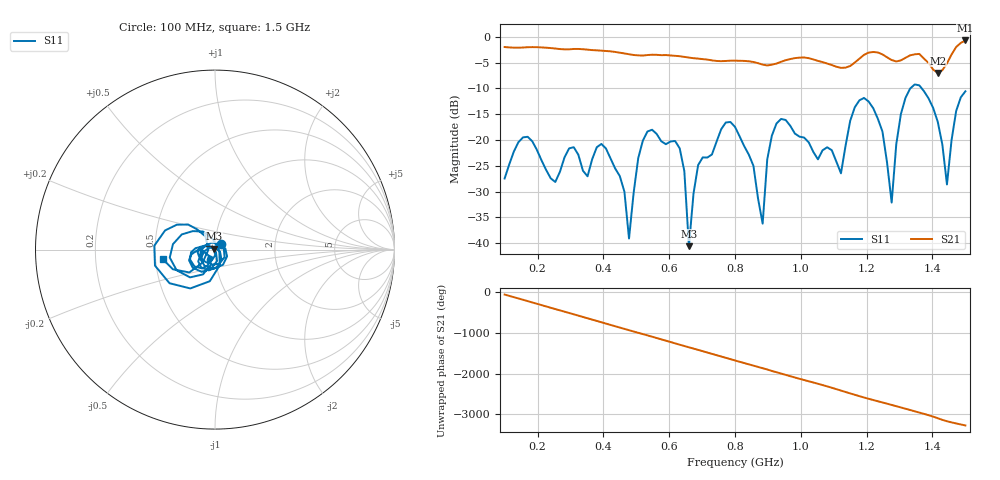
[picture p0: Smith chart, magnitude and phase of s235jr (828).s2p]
! NanoVNA-App
! Date: 2025-09-25 15:10:37
! Start: 100MHz Stop: 1,5GHz Points: 101
! S-Parameter data: F S11 S21 S12 S22
# Hz S RI R 50
!  Frequency  S11_Real  S11_Imag  S21_Real  S21_Imag  S12_Real  S12_Imag  S22_Real  S22_Imag
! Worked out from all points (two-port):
!   101 points, 100 MHz to 1.5 GHz, reference 50 ohm
!   highest |S21| = -0.69 dB at 1.5 GHz (marker M1); lowest = -7.0 dB at 1.416 GHz (marker M2)
!   |S21| within 3 dB of the highest: start of sweep to 621.9 MHz; 1.188 GHz to 1.255 GHz (67.23 MHz wide, 5.5 % of centre) (the widest 2 of 4)
!   lowest |S11| = -40.6 dB at 660 MHz (marker M3), VSWR 1.02, Z = 49.2 + j0.542 ohm
!   |S11| at or under -10 dB: start of sweep to 1.333 GHz; 1.368 GHz to end of sweep
!   S12 and S22 are empty: the file has one direction only
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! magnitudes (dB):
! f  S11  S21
! 100 MHz  -27.5  -2.0
! 170 MHz  -19.4  -2.0
! 338 MHz  -26.0  -2.4
! 408 MHz  -21.6  -2.7
! 478 MHz  -39.1  -3.4
! 520 MHz  -20.1  -3.6
! 576 MHz  -20.2  -3.5
! 632 MHz  -21.6  -3.7
! 660 MHz  -40.6  -4.0
! 688 MHz  -24.9  -4.2
! 800 MHz  -17.4  -4.6
! 884 MHz  -36.2  -5.4
! 926 MHz  -16.8  -5.2
! 1.038 GHz  -22.3  -4.4
! 1.122 GHz  -26.5  -6.0
! 1.192 GHz  -11.8  -3.5
! 1.248 GHz  -18.4  -3.4
! 1.276 GHz  -32.1  -4.5
! 1.332 GHz  -10.0  -3.6
! 1.416 GHz  -16.5  -7.0
! 1.444 GHz  -28.6  -5.1
! 1.5 GHz  -10.6  -0.7
